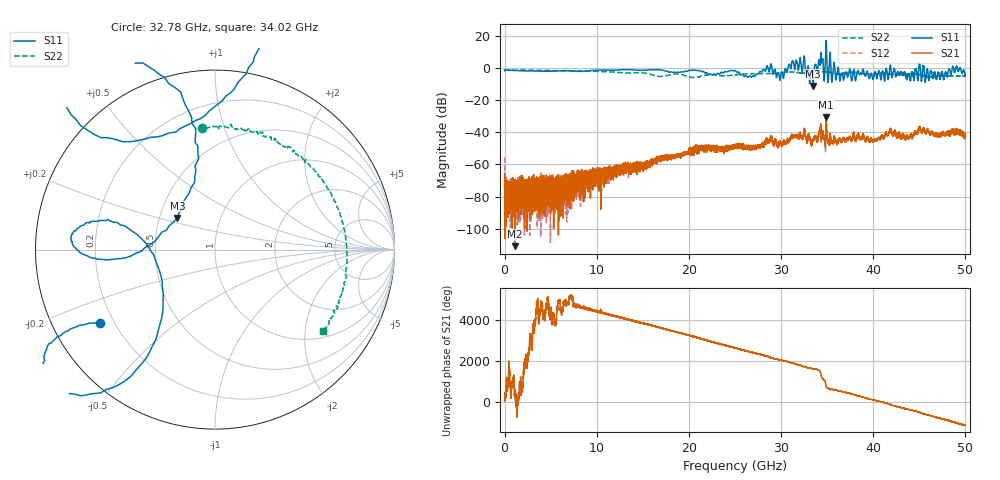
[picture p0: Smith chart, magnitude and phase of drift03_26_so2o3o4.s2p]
!Created with skrf (http://scikit-rf.org).
# Hz S RI R 50.0
!freq ReS11 ImS11 ReS21 ImS21 ReS12 ImS12 ReS22 ImS22
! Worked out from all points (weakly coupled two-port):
!   10001 points, 300 kHz to 50 GHz, reference 50 ohm
!   highest |S21| = -30.79 dB at 34.9 GHz (marker M1); lowest = -110.8 dB at 1.09 GHz (marker M2)
!   lowest |S11| = -11.3 dB at 33.47 GHz (marker M3), VSWR 1.75, Z = 31 + j11.8 ohm
!   |S11| at or under -10 dB: 33.44834 GHz to 33.48493 GHz (36.58 MHz wide, 0.109 % of centre)
!   |S22| runs from -5.9 to -1.3 dB; largest |S21 - S12| = 0.0066
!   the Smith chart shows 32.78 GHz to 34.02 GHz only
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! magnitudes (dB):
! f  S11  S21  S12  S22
! 300 kHz  -1.3  -65.5  -55.5  -2.0
! 255.3 MHz  -1.3  -77.6  -73.2  -1.4
! 1.09 GHz  -1.6  -110.8  -79.7  -1.5
! 8.335 GHz  -2.2  -67.4  -65.7  -1.9
! 16.67 GHz  -1.1  -56.8  -56.8  -5.2
! 25 GHz  -1.5  -48.7  -49.7  -4.3
! 26.92 GHz  -4.9  -49.3  -50.0  -3.6
! 28.73 GHz  -2.2  -46.0  -45.1  -3.5
! 30.06 GHz  -2.5  -48.0  -47.4  -2.8
! 31.87 GHz  -1.5  -42.0  -42.2  -2.9
! 33.34 GHz  -2.2  -47.2  -46.9  -2.9
! 33.47 GHz  -11.3  -44.9  -45.0  -2.8
! 34.3 GHz  7.3  -35.0  -35.1  -2.3
! 34.9 GHz  17.1  -30.8  -31.1  -2.4
! 36.58 GHz  -3.4  -46.1  -45.9  -3.6
! 40.15 GHz  -3.0  -44.8  -44.1  -3.8
! 41.67 GHz  -5.7  -41.1  -40.9  -3.7
! 43.65 GHz  -6.8  -42.5  -42.0  -4.0
! 45.21 GHz  -6.5  -39.4  -39.8  -4.5
! 47.06 GHz  -2.8  -41.4  -42.3  -5.1
! 49.21 GHz  -1.9  -40.1  -39.2  -5.2
! 50 GHz  -4.7  -41.7  -42.2  -5.0
